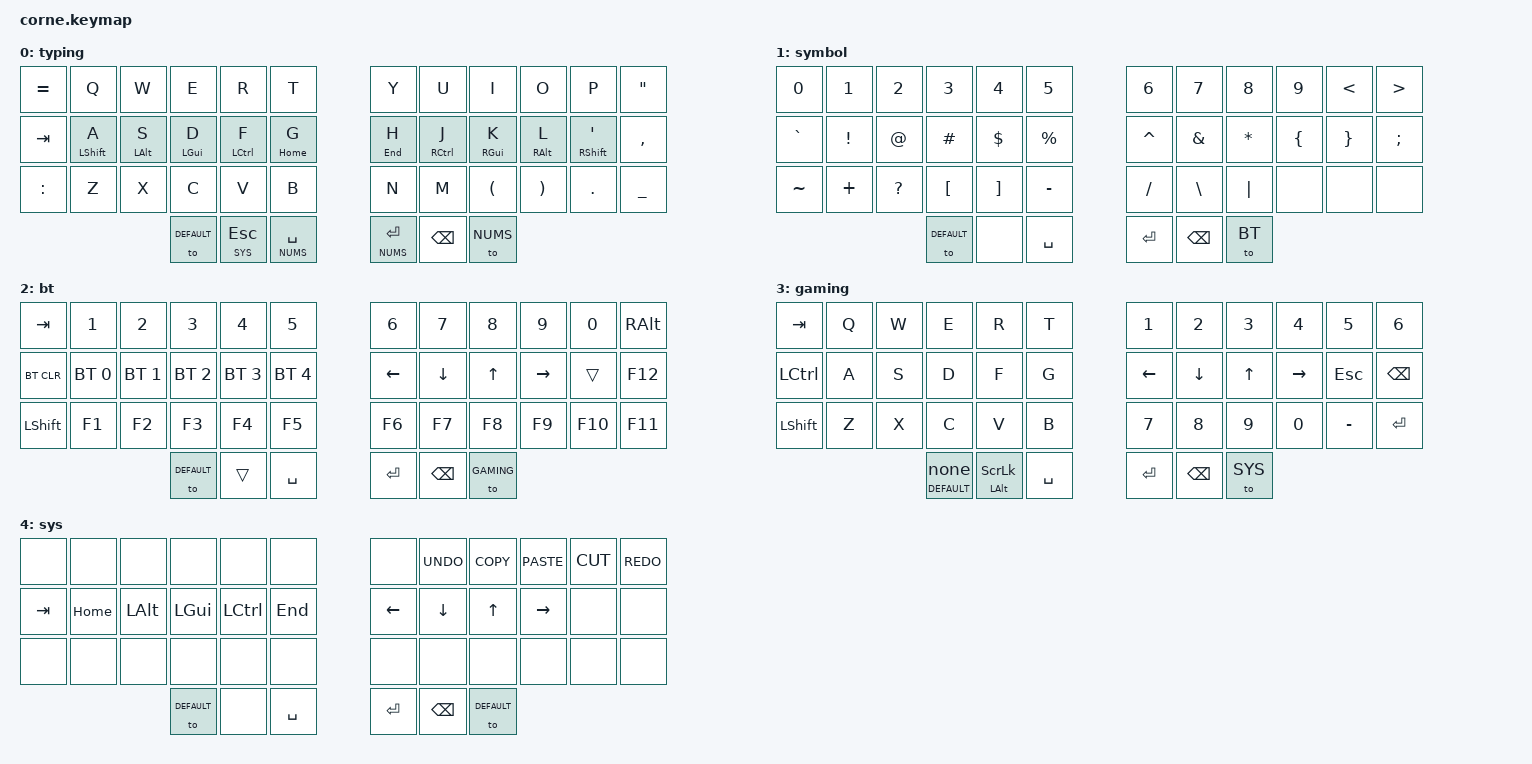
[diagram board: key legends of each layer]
/*
 * Copyright (c) 2020 The ZMK Contributors
 *
 * SPDX-License-Identifier: MIT
 */

#include <behaviors.dtsi>
#include <dt-bindings/zmk/keys.h>
#include <dt-bindings/zmk/bt.h>

#define DEFAULT 0
#define NUMS   1
#define BT   2
#define GAMING 3
#define SYS 4

&mt {
    tapping-term-ms = <2000>;
};

&lt {
    tapping-term-ms = <250>;
};

/ {

        behaviors {
                hm: homerow_mods {
                        compatible = "zmk,behavior-hold-tap";
                        label = "HOMEROW_MODS";
                        #binding-cells = <2>;
                        tapping-term-ms = <350>;
                        quick_tap_ms = <200>;
                        flavor = "tap-preferred";
                        bindings = <&kp>, <&kp>;
                };
                gto: gaming_to_layer {
                        compatible = "zmk,behavior-hold-tap";
                        label = "GAMING_LAYER_TO";
                        #binding-cells = <2>;
                        tapping-term-ms = <500>;
                        quick_tap_ms = <200>;
                        flavor = "tap-preferred";
                        bindings = <&to>, <&none>;
                };
        };

        keymap {
                compatible = "zmk,keymap";

                default_layer {
                        label="typing";
// -----------------------------------------------------------------------------------------
// | =    |  Q         |  W      |  E      |  R        |  T       |   |  Y       |  U        |  I       |  O       |  P         |  "   |
// | TAB  |  LSHIFT/A  |  ALT/S  |  GUI/D  |  LCTRL/F  |  HOME/G  |   |  END/H   |  RCTRL/J  |  RGUI/K  |  RALT/L  |  RSHIFT/'  |  ,   |
// | :    |  Z         |  X      |  C      |  V        |  B       |   |  N       |  M        |  (       |  )       |  .         |  _   |
//                               | LY0     |  SYS/ESC  | NUMS/SPC |   | NUMS/ENT |  BSPC     | LY1      |
                        bindings = <
   &kp EQUAL  &kp Q        &kp W      &kp E         &kp R       &kp T            &kp Y           &kp U          &kp I            &kp O             &kp P                &kp DOUBLE_QUOTES
   &kp TAB    &hm LSHIFT A &hm LALT S &hm LGUI D    &hm LCTRL F &hm HOME G       &hm END H       &hm RCTRL J    &hm RGUI K       &hm RALT L        &hm RSHIFT APOS      &kp COMMA
   &kp COLON  &kp Z        &kp X      &kp C         &kp V       &kp B            &kp N           &kp M          &kp LPAR         &kp RPAR          &kp PERIOD           &kp UNDERSCORE
                                      &to DEFAULT   &lt SYS ESC &lt NUMS SPACE   &lt NUMS RET    &kp BSPC &to NUMS
                        >;
                };

                num_sym_layer {
                        label="symbol";
// -----------------------------------------------------------------------------------------
// |  0   |  1  |  2  |  3  |  4  |  5  |   |  6  |  7     |  8  |  9   |  "<"  | ">"  |
// |  `   |  !  |  @  |  #  |  $  |  %  |   |  ^  |  &     |  *  |  {   |   }   | ;    |
// |  ~   |  +  |  ?  |  [  |  ]  |  -  |   |  /  |  \     |  |  |      |       |      |
//                    | LY0 |     | SPC |   | ENT |  BSPC  | LY2 |
                        bindings = <
   &kp N0     &kp N1       &kp N2       &kp N3       &kp N4       &kp N5         &kp N6    &kp N7   &kp N8   &kp N9    &kp LT    &kp GT
   &kp GRAVE  &kp EXCL     &kp AT       &kp HASH     &kp DOLLAR   &kp PRCNT      &kp CARET &kp AMPS &kp STAR &kp LBRC  &kp RBRC  &kp SEMI
   &kp TILDE  &kp PLUS     &kp QMARK    &kp LBKT     &kp RBKT     &kp MINUS      &kp FSLH  &kp BSLH &kp PIPE &none     &none     &none
                                        &to DEFAULT  &none        &kp SPACE      &kp RET   &kp BSPC &to BT
                        >;
                };

                bt_layer {
                        label="bt";
// -----------------------------------------------------------------------------------------
// |  TAB |  1  |  2  |  3  |  4  |  5  |   |  6  |  7   |  8  |  9  |  0  | ALT  |
// | BTCLR| BT1 | BT2 | BT3 | BT4 | BT5 |   | LFT | DWN  |  UP | RGT |     | F12  |
// | SHFT | F1  | F2  | F3  | F4  | F5  |   | F6  | F7   |  F8 | F9  | F10 | F11  |
//                    | LY0 |     | SPC |   | ENT | BSPC | LY3 |
                        bindings = <
   &kp TAB    &kp N1       &kp N2       &kp N3             &kp N4       &kp N5         &kp N6   &kp N7   &kp N8 &kp N9    &kp N0  &kp RALT
   &bt BT_CLR &bt BT_SEL 0 &bt BT_SEL 1 &bt BT_SEL 2       &bt BT_SEL 3 &bt BT_SEL 4   &kp LEFT &kp DOWN &kp UP &kp RIGHT &trans  &kp F12
   &kp LSHFT  &kp F1       &kp F2       &kp F3             &kp F4       &kp F5         &kp F6   &kp F7   &kp F8 &kp F9    &kp F10 &kp F11
                                        &to DEFAULT        &trans       &kp SPACE      &kp RET  &kp BSPC   &to GAMING
                        >;
                };

                gaming_layer {
                        label="gaming";
// -----------------------------------------------------------------------------------------
// | TAB     |  Q  |  W  |  E  |  R  |  T  |   |  1  |  2    |  3  |  4  |  5  |  6   |
// | CTRL    |  A  |  S  |  D  |  F  |  G  |   | LFT | DWN   |  UP | RGT | ESC | BKSP |
// | SHFT    |  Z  |  X  |  C  |  V  |  B  |   |  7  |  8    |  9  |  0  |  -  | ENT  |
//                 | LY0 | SLCK/NUMS | SPC |   | ENT | BSPC  | LY4 |
                        bindings = <
   &kp TAB     &kp Q &kp W &kp E  &kp R  &kp T         &kp N1   &kp N2   &kp N3  &kp N4    &kp N5   &kp N6
   &kp LCTRL   &kp A &kp S &kp D  &kp F  &kp G         &kp LEFT &kp DOWN &kp UP  &kp RIGHT &kp ESC  &kp BSPC
   &kp LSHFT   &kp Z &kp X &kp C  &kp V  &kp B         &kp N7   &kp N8   &kp N9  &kp N0    &kp MINUS &kp RET
        &gto DEFAULT 0  &mt LALT SLCK  &kp SPACE         &kp RET &kp BSPC  &to SYS
                        >;
                };

                sys_layer {
                        label="sys";
// -----------------------------------------------------------------------------------------
// |       |        |        |        |        |        |   |        |  K_UNDO  |  K_COPY  |  K_PASTE  |  K_CUT  | K_REDO |
// |  TAB  |  HOME  |  ALT   |  GUI   |  CTRL  |  END   |   |        |  LEFT    |  DOWN    |  UP       |  RIGHT  |        |
// |  TAB  |  HOME  |  ALT   |  GUI   |  CTRL  |  END   |   |  LEFT  |  DOWN    |  UP      |  RIGHT    |         |        |
// |       |        |        |        |        |        |   |        |          |          |           |         |        |
//                    | LY0 |     | SPC |   | ENT | BSPC  | LY0 |
                        bindings = <
   &none     &none    &none    &none        &none      &none         &none      &kp K_UNDO &kp K_COPY &kp K_PASTE &kp K_CUT &kp K_REDO
   &kp TAB   &kp HOME &kp LALT &kp LGUI     &kp LCTRL  &kp END       &kp LEFT   &kp DOWN   &kp UP     &kp RIGHT   &none     &none
   &none     &none    &none    &none        &none      &none         &none      &none      &none      &none       &none     &none
                               &to DEFAULT  &none      &kp SPACE     &kp RET    &kp BSPC   &to DEFAULT
                        >;
                };

        };
};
